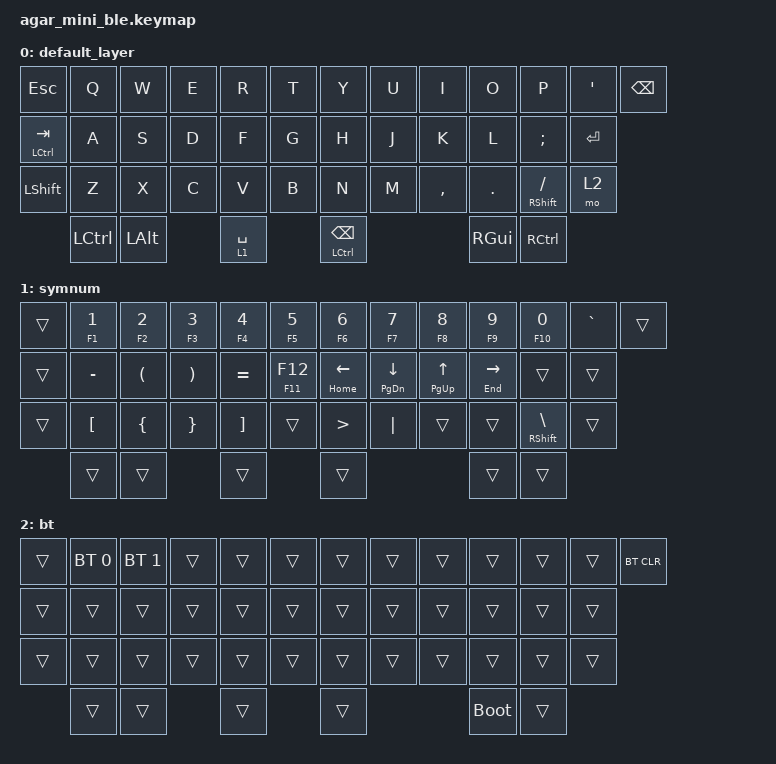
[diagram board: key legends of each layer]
/*
 * Copyright (c) 2021 The ZMK Contributors
 *
 * SPDX-License-Identifier: MIT
 */

#include "./boards/shields/klink_kbd/common.keymap"
#include <behaviors.dtsi>
#include <dt-bindings/zmk/keys.h>

/ {
    behaviors {
        hmr: hmr {
            compatible = "zmk,behavior-hold-tap";
            label = "HMR";
            bindings = <&kp>, <&kp>;

            #binding-cells = <2>;
            tapping-term-ms = <175>;
            quick-tap-ms = <175>;
            flavor = "tap-preferred";
        };
    };

    keymap {
        compatible = "zmk,keymap";

        default_layer {
            bindings = <
                &kp ESC        &kp Q      &kp W     &kp E  &kp R        &kp T  &kp Y             &kp U  &kp I      &kp O         &kp P             &kp SQT  &kp BSPC
                &mt LCTRL TAB  &kp A      &kp S     &kp D  &kp F        &kp G  &kp H             &kp J  &kp K      &kp L         &kp SEMI          &kp RET
                &kp LSHIFT     &kp Z      &kp X     &kp C  &kp V        &kp B  &kp N             &kp M  &kp COMMA  &kp DOT       &mt RSHIFT SLASH  &mo 2
                               &kp LCTRL  &kp LALT         &lt 1 SPACE         &mt LCTRL BSPC                      &kp RGUI      &kp RCTRL
            >;
       };

        symnum {
            bindings = <
                &trans  &hmr F1 N1  &hmr F2 N2  &hmr F3 N3  &hmr F4 N4  &hmr F5 N5    &hmr F6 N6      &hmr F7 N7       &hmr F8 N8     &hmr F9 N9      &hmr F10 N0      &kp GRAVE  &trans
                &trans  &kp MINUS   &kp LPAR    &kp RPAR    &kp EQUAL   &hmr F11 F12  &hmr HOME LEFT  &hmr PG_DN DOWN  &hmr PG_UP UP  &hmr END RIGHT  &trans           &trans
                &trans  &kp LBKT    &kp LBRC    &kp RBRC    &kp RBKT    &trans        &kp GT          &kp PIPE         &trans         &trans          &mt RSHIFT BSLH  &trans
                        &trans      &trans                  &trans                    &trans                                          &trans          &trans
            >;
        };

        bt {
            bindings = <
                &trans  &bt BT_SEL 0  &bt BT_SEL 1  &trans  &trans  &trans  &trans     &trans  &trans       &trans  &trans  &trans  &bt BT_CLR
                &trans  &trans        &trans        &trans  &trans  &trans  &trans     &trans  &trans       &trans  &trans  &trans
                &trans  &trans        &trans        &trans  &trans  &trans  &trans     &trans  &trans       &trans  &trans  &trans
                        &trans        &trans                &trans          &trans             &bootloader  &trans
            >;
        };
    };
};
